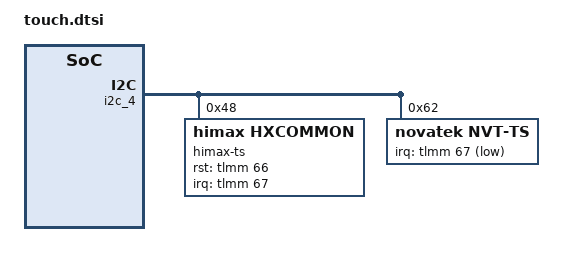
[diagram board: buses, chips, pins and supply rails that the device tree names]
/*
  *    add nubia touch
  */
 
&i2c_4 {
	status = "okay";

	himax-ts@48 {
		status = "okay";
		compatible = "himax,hxcommon";
		reg = <0x48>;
		interrupt-parent = <&tlmm>;
		interrupts = <67 0x02>;
		himax,panel-coords = <0 1080 0 2160>;
		himax,display-coords = <0 1080 0 2160>;
		himax,rst-gpio = <&tlmm 66 0x00>;
		himax,irq-gpio = <&tlmm 67 0x00>;
		report_type = <1>;
	};

	/* Novatek device tree node */
	novatek@62 {
		compatible = "novatek,NVT-ts";
		reg = <0x62>;
		status = "ok";
		novatek,irq-gpio = <&tlmm 67 0x2001>;
	};
};


